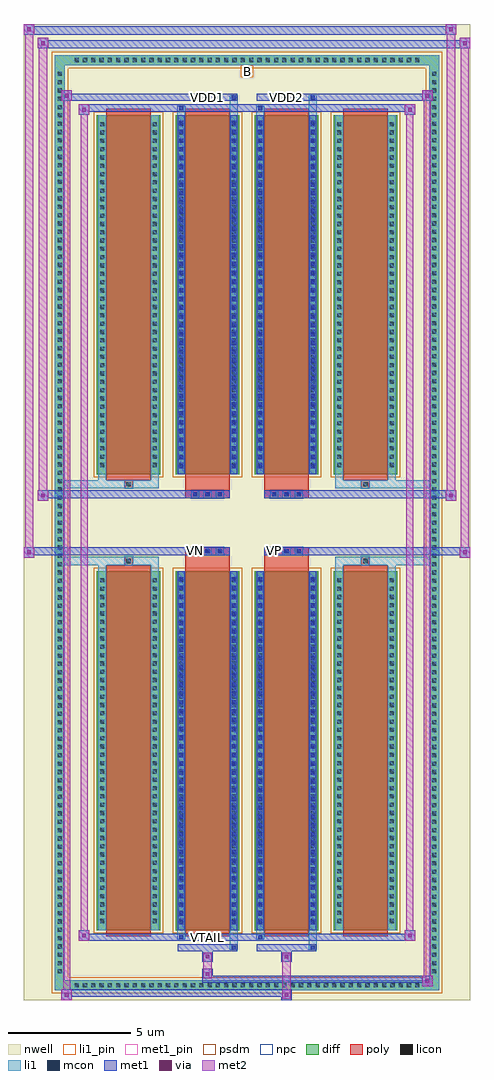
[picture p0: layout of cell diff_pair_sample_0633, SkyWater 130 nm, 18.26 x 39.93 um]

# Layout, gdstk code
import gdstk
lib = gdstk.Library(unit=1e-6, precision=5e-09)
def R(c, l, rs):  # rectangles x0, y0, x1, y1
    for r in rs: c.add(gdstk.rectangle(r[:2], r[2:], *l))
def A(c, l, x, y, w, h, nx, ny, dx, dy):  # array of equal rectangles
    R(c, l, [(x+i*dx, y+j*dy, x+i*dx+w, y+j*dy+h) for i in range(nx) for j in range(ny)])
def P(c, l, *ps):  # polygons
    for p in ps: c.add(gdstk.Polygon(p, *l))
nwell = (64, 20)
diff = (65, 20)
poly = (66, 20)
licon = (66, 44)
li1_pin = (67, 16)
li1 = (67, 20)
mcon = (67, 44)
met1_pin = (68, 16)
met1 = (68, 20)
via = (68, 44)
met2 = (69, 20)
psdm = (94, 20)
npc = (95, 20)

diff_pair_sample_0633 = lib.new_cell('diff_pair_sample_0633')
R(diff_pair_sample_0633, nwell, [(-9.13,-19.53,9.13,20.4), (-6.45,-17.72,-0.01,-0.8), (0.01,-17.72,6.45,-0.8), (-6.45,0.8,-0.01,17.72), (0.01,0.8,6.45,17.72)])
A(diff_pair_sample_0633, diff, -7.175, -19.13, 0.41, 0.41, 42, 2, 0.34, 37.85)
A(diff_pair_sample_0633, diff, -7.86, -18.565, 0.41, 0.41, 1, 109, 0, 0.34)
A(diff_pair_sample_0633, diff, 7.45, -18.565, 0.41, 0.41, 1, 109, 0, 0.34)
A(diff_pair_sample_0633, diff, -6.14, -16.675, 2.59, 14.69, 4, 2, 3.23, 18.66)
R(diff_pair_sample_0633, diff, [(-7.175,-19.13,7.175,-18.72), (-7.86,-18.565,-7.45,18.565), (7.45,-18.565,7.86,18.565), (-7.175,18.72,7.175,19.13)])
P(diff_pair_sample_0633, diff, [(7.86,19.13),(-7.86,19.13),(-7.86,-18.72),(-7.45,-18.72),(-7.45,18.72),(7.45,18.72),(7.45,-18.72),(-7.45,-18.72),(-7.86,-18.72),(-7.86,-19.13),(7.86,-19.13)])
A(diff_pair_sample_0633, poly, -5.75, -16.925, 1.81, 15.19, 4, 2, 3.23, 18.66)
A(diff_pair_sample_0633, poly, -2.28, -1.33, 0.33, 0.33, 3, 2, 0.5, 2.33)
A(diff_pair_sample_0633, poly, 0.95, -1.33, 0.33, 0.33, 3, 2, 0.5, 2.33)
R(diff_pair_sample_0633, poly, [(-5.01,-1.735,-4.68,-1.405), (-5.01,-1.735,-4.68,-1.405), (-2.52,-1.735,-0.71,-1.33), (0.71,-1.735,2.52,-1.33), (4.68,-1.735,5.01,-1.405), (4.68,-1.735,5.01,-1.405), (-2.52,-1.33,-0.71,-1), (0.71,-1.33,2.52,-1), (-2.52,1,-0.71,1.33), (0.71,1,2.52,1.33), (-2.52,1.33,-0.71,1.735), (0.71,1.33,2.52,1.735), (-5.01,1.405,-4.68,1.735), (-5.01,1.405,-4.68,1.735), (4.68,1.405,5.01,1.735), (4.68,1.405,5.01,1.735)])
A(diff_pair_sample_0633, licon, -7.055, -19.01, 0.17, 0.17, 42, 2, 0.34, 37.85)
A(diff_pair_sample_0633, licon, -7.74, -18.445, 0.17, 0.17, 1, 109, 0, 0.34)
A(diff_pair_sample_0633, licon, 7.57, -18.445, 0.17, 0.17, 1, 109, 0, 0.34)
A(diff_pair_sample_0633, licon, -6, -16.385, 0.17, 0.17, 1, 42, 0, 0.34)
A(diff_pair_sample_0633, licon, -3.86, -16.385, 0.17, 0.17, 1, 42, 0, 0.34)
A(diff_pair_sample_0633, licon, -2.77, -16.385, 0.17, 0.17, 1, 42, 0, 0.34)
A(diff_pair_sample_0633, licon, -0.63, -16.385, 0.17, 0.17, 1, 42, 0, 0.34)
A(diff_pair_sample_0633, licon, 0.46, -16.385, 0.17, 0.17, 1, 42, 0, 0.34)
A(diff_pair_sample_0633, licon, 2.6, -16.385, 0.17, 0.17, 1, 42, 0, 0.34)
A(diff_pair_sample_0633, licon, 3.69, -16.385, 0.17, 0.17, 1, 42, 0, 0.34)
A(diff_pair_sample_0633, licon, 5.83, -16.385, 0.17, 0.17, 1, 42, 0, 0.34)
A(diff_pair_sample_0633, licon, -2.2, -1.25, 0.17, 0.17, 3, 2, 0.5, 2.33)
A(diff_pair_sample_0633, licon, 1.03, -1.25, 0.17, 0.17, 3, 2, 0.5, 2.33)
A(diff_pair_sample_0633, licon, -6, 2.275, 0.17, 0.17, 1, 42, 0, 0.34)
A(diff_pair_sample_0633, licon, -3.86, 2.275, 0.17, 0.17, 1, 42, 0, 0.34)
A(diff_pair_sample_0633, licon, -2.77, 2.275, 0.17, 0.17, 1, 42, 0, 0.34)
A(diff_pair_sample_0633, licon, -0.63, 2.275, 0.17, 0.17, 1, 42, 0, 0.34)
A(diff_pair_sample_0633, licon, 0.46, 2.275, 0.17, 0.17, 1, 42, 0, 0.34)
A(diff_pair_sample_0633, licon, 2.6, 2.275, 0.17, 0.17, 1, 42, 0, 0.34)
A(diff_pair_sample_0633, licon, 3.69, 2.275, 0.17, 0.17, 1, 42, 0, 0.34)
A(diff_pair_sample_0633, licon, 5.83, 2.275, 0.17, 0.17, 1, 42, 0, 0.34)
R(diff_pair_sample_0633, licon, [(-4.93,-1.655,-4.76,-1.485), (4.76,-1.655,4.93,-1.485), (-4.93,1.485,-4.76,1.655), (4.76,1.485,4.93,1.655)])
R(diff_pair_sample_0633, li1_pin, [(-0.25,18.22,0.25,18.72)])
A(diff_pair_sample_0633, li1, -7.135, -19.09, 0.33, 0.33, 42, 2, 0.34, 37.85)
A(diff_pair_sample_0633, li1, -7.82, -18.525, 0.33, 0.33, 1, 109, 0, 0.34)
A(diff_pair_sample_0633, li1, 7.49, -18.525, 0.33, 0.33, 1, 109, 0, 0.34)
A(diff_pair_sample_0633, li1, -6.08, -16.465, 0.33, 0.33, 1, 42, 0, 0.34)
A(diff_pair_sample_0633, li1, -3.94, -16.465, 0.33, 0.33, 1, 42, 0, 0.34)
A(diff_pair_sample_0633, li1, -2.85, -16.465, 0.33, 0.33, 1, 42, 0, 0.34)
A(diff_pair_sample_0633, li1, -0.71, -16.465, 0.33, 0.33, 1, 42, 0, 0.34)
A(diff_pair_sample_0633, li1, 0.38, -16.465, 0.33, 0.33, 1, 42, 0, 0.34)
A(diff_pair_sample_0633, li1, 2.52, -16.465, 0.33, 0.33, 1, 42, 0, 0.34)
A(diff_pair_sample_0633, li1, 3.61, -16.465, 0.33, 0.33, 1, 42, 0, 0.34)
A(diff_pair_sample_0633, li1, 5.75, -16.465, 0.33, 0.33, 1, 42, 0, 0.34)
A(diff_pair_sample_0633, li1, -2.77, -16.435, 0.17, 0.17, 1, 40, 0, 0.36)
A(diff_pair_sample_0633, li1, -0.63, -16.435, 0.17, 0.17, 1, 40, 0, 0.36)
A(diff_pair_sample_0633, li1, 0.46, -16.435, 0.17, 0.17, 1, 40, 0, 0.36)
A(diff_pair_sample_0633, li1, 2.6, -16.435, 0.17, 0.17, 1, 40, 0, 0.36)
A(diff_pair_sample_0633, li1, -2.28, -1.33, 0.33, 0.33, 3, 2, 0.5, 2.33)
A(diff_pair_sample_0633, li1, 0.95, -1.33, 0.33, 0.33, 3, 2, 0.5, 2.33)
A(diff_pair_sample_0633, li1, -6.08, 2.195, 0.33, 0.33, 1, 42, 0, 0.34)
A(diff_pair_sample_0633, li1, -3.94, 2.195, 0.33, 0.33, 1, 42, 0, 0.34)
A(diff_pair_sample_0633, li1, -2.85, 2.195, 0.33, 0.33, 1, 42, 0, 0.34)
A(diff_pair_sample_0633, li1, -0.71, 2.195, 0.33, 0.33, 1, 42, 0, 0.34)
A(diff_pair_sample_0633, li1, 0.38, 2.195, 0.33, 0.33, 1, 42, 0, 0.34)
A(diff_pair_sample_0633, li1, 2.52, 2.195, 0.33, 0.33, 1, 42, 0, 0.34)
A(diff_pair_sample_0633, li1, 3.61, 2.195, 0.33, 0.33, 1, 42, 0, 0.34)
A(diff_pair_sample_0633, li1, 5.75, 2.195, 0.33, 0.33, 1, 42, 0, 0.34)
A(diff_pair_sample_0633, li1, -2.77, 2.225, 0.17, 0.17, 1, 40, 0, 0.36)
A(diff_pair_sample_0633, li1, -0.63, 2.225, 0.17, 0.17, 1, 40, 0, 0.36)
A(diff_pair_sample_0633, li1, 0.46, 2.225, 0.17, 0.17, 1, 40, 0, 0.36)
A(diff_pair_sample_0633, li1, 2.6, 2.225, 0.17, 0.17, 1, 40, 0, 0.36)
R(diff_pair_sample_0633, li1, [(-7.86,-19.13,-7.45,-18.72), (-7.86,-19.13,-7.45,-18.72), (-7.45,-19.13,7.45,-18.72), (7.45,-19.13,7.86,-18.72), (7.45,-19.13,7.86,-18.72), (-7.86,-18.72,-7.45,18.72), (7.45,-18.72,7.86,18.72), (-0.71,-17.48,-0.38,-16.675), (-0.63,-17.48,-0.46,-17.31), (2.52,-17.48,2.85,-16.675), (2.6,-17.48,2.77,-17.31), (-2.85,-17.05,-2.52,-16.675), (-2.77,-17.05,-2.6,-16.88), (0.38,-17.05,0.71,-16.675), (0.46,-17.05,0.63,-16.88), (-6.08,-16.675,-5.75,-1.985), (-3.94,-16.675,-3.61,-1.985), (-2.85,-16.675,-2.52,-1.985), (-0.71,-16.675,-0.38,-1.985), (0.38,-16.675,0.71,-1.985), (2.52,-16.675,2.85,-1.985), (3.61,-16.675,3.94,-1.985), (5.75,-16.675,6.08,-1.985), (-2.77,-16.435,-2.6,-2.225), (-0.63,-16.435,-0.46,-2.225), (0.46,-16.435,0.63,-2.225), (2.6,-16.435,2.77,-2.225), (-6.08,-1.985,-5.75,-1.405), (-3.94,-1.985,-3.61,-1.405), (3.61,-1.985,3.94,-1.405), (5.75,-1.985,6.08,-1.405), (-7.86,-1.735,-5.01,-1.405), (-6.08,-1.735,-5.01,-1.405), (-5.01,-1.735,-4.68,-1.405), (-4.68,-1.735,-3.61,-1.405), (3.61,-1.735,4.68,-1.405), (4.68,-1.735,5.01,-1.405), (4.68,-1.735,7.86,-1.405), (5.01,-1.735,6.08,-1.405), (-7.86,1.405,-5.01,1.735), (-6.08,1.405,-5.01,1.735), (-6.08,1.405,-5.75,1.985), (-5.01,1.405,-4.68,1.735), (-4.68,1.405,-3.61,1.735), (-3.94,1.405,-3.61,1.985), (3.61,1.405,4.68,1.735), (3.61,1.405,3.94,1.985), (4.68,1.405,5.01,1.735), (4.68,1.405,7.86,1.735), (5.01,1.405,6.08,1.735), (5.75,1.405,6.08,1.985), (-6.08,1.985,-5.75,16.675), (-3.94,1.985,-3.61,16.675), (-2.85,1.985,-2.52,16.675), (-0.71,1.985,-0.38,16.675), (0.38,1.985,0.71,16.675), (2.52,1.985,2.85,16.675), (3.61,1.985,3.94,16.675), (5.75,1.985,6.08,16.675), (-2.77,2.225,-2.6,16.435), (-0.63,2.225,-0.46,16.435), (0.46,2.225,0.63,16.435), (2.6,2.225,2.77,16.435), (-2.85,16.675,-2.52,17.05), (-0.71,16.675,-0.38,17.48), (0.38,16.675,0.71,17.05), (2.52,16.675,2.85,17.48), (-2.77,16.88,-2.6,17.05), (0.46,16.88,0.63,17.05), (-0.63,17.31,-0.46,17.48), (2.6,17.31,2.77,17.48), (-7.86,18.72,-7.45,19.13), (-7.86,18.72,-7.45,19.13), (-7.45,18.72,7.45,19.13), (7.45,18.72,7.86,19.13), (7.45,18.72,7.86,19.13)])
A(diff_pair_sample_0633, mcon, -2.77, -16.435, 0.17, 0.17, 1, 40, 0, 0.36)
A(diff_pair_sample_0633, mcon, -0.63, -16.435, 0.17, 0.17, 1, 40, 0, 0.36)
A(diff_pair_sample_0633, mcon, 0.46, -16.435, 0.17, 0.17, 1, 40, 0, 0.36)
A(diff_pair_sample_0633, mcon, 2.6, -16.435, 0.17, 0.17, 1, 40, 0, 0.36)
A(diff_pair_sample_0633, mcon, -2.2, -1.25, 0.17, 0.17, 3, 2, 0.5, 2.33)
A(diff_pair_sample_0633, mcon, 1.03, -1.25, 0.17, 0.17, 3, 2, 0.5, 2.33)
A(diff_pair_sample_0633, mcon, -2.77, 2.225, 0.17, 0.17, 1, 40, 0, 0.36)
A(diff_pair_sample_0633, mcon, -0.63, 2.225, 0.17, 0.17, 1, 40, 0, 0.36)
A(diff_pair_sample_0633, mcon, 0.46, 2.225, 0.17, 0.17, 1, 40, 0, 0.36)
A(diff_pair_sample_0633, mcon, 2.6, 2.225, 0.17, 0.17, 1, 40, 0, 0.36)
R(diff_pair_sample_0633, mcon, [(-0.63,-17.48,-0.46,-17.31), (2.6,-17.48,2.77,-17.31), (-2.77,-17.05,-2.6,-16.88), (0.46,-17.05,0.63,-16.88), (-2.77,16.88,-2.6,17.05), (0.46,16.88,0.63,17.05), (-0.63,17.31,-0.46,17.48), (2.6,17.31,2.77,17.48)])
R(diff_pair_sample_0633, met1_pin, [(-1.75,-17.09,-1.48,-16.82), (-2.25,-1.29,-1.98,-1.02), (0.98,-1.29,1.25,-1.02), (-1.75,17.27,-1.48,17.54), (1.48,17.27,1.75,17.54)])
A(diff_pair_sample_0633, met1, -2.83, -16.495, 0.29, 0.29, 1, 40, 0, 0.36)
A(diff_pair_sample_0633, met1, -0.69, -16.495, 0.29, 0.29, 1, 40, 0, 0.36)
A(diff_pair_sample_0633, met1, 0.4, -16.495, 0.29, 0.29, 1, 40, 0, 0.36)
A(diff_pair_sample_0633, met1, 2.54, -16.495, 0.29, 0.29, 1, 40, 0, 0.36)
A(diff_pair_sample_0633, met1, -2.26, -1.31, 0.29, 0.29, 3, 2, 0.5, 2.33)
A(diff_pair_sample_0633, met1, 0.97, -1.31, 0.29, 0.29, 3, 2, 0.5, 2.33)
A(diff_pair_sample_0633, met1, -2.83, 2.165, 0.29, 0.29, 1, 40, 0, 0.36)
A(diff_pair_sample_0633, met1, -0.69, 2.165, 0.29, 0.29, 1, 40, 0, 0.36)
A(diff_pair_sample_0633, met1, 0.4, 2.165, 0.29, 0.29, 1, 40, 0, 0.36)
A(diff_pair_sample_0633, met1, 2.54, 2.165, 0.29, 0.29, 1, 40, 0, 0.36)
R(diff_pair_sample_0633, met1, [(-7.59,-19.53,-7.16,-19.1), (1.4,-19.53,1.83,-19.1), (-7.59,-19.39,1.83,-19.1), (7.16,-18.96,7.59,-18.53), (-1.83,-18.82,7.59,-18.53), (-1.83,-18.68,-1.4,-18.25), (-1.83,-17.97,-1.4,-17.54), (1.4,-17.97,1.83,-17.54), (-2.83,-17.54,-0.4,-17.25), (-0.69,-17.54,-0.4,-17.25), (0.4,-17.54,2.83,-17.25), (2.54,-17.54,2.83,-17.25), (-6.88,-17.11,-6.45,-16.68), (-6.88,-17.11,-2.83,-16.82), (-2.83,-17.11,-2.54,-16.82), (-2.83,-17.11,-0.4,-16.82), (-0.4,-17.11,0.4,-16.82), (0.4,-17.11,0.69,-16.82), (0.4,-17.11,2.83,-16.82), (2.83,-17.11,6.88,-16.82), (6.45,-17.11,6.88,-16.68), (-2.83,-16.675,-2.54,-1.985), (-0.69,-16.675,-0.4,-1.985), (0.4,-16.675,0.69,-1.985), (2.54,-16.675,2.83,-1.985), (-9.13,-1.43,-8.7,-1), (8.7,-1.43,9.13,-1), (-9.13,-1.33,-0.71,-1), (-2.52,-1.33,-0.71,-1), (0.71,-1.33,2.52,-1), (0.71,-1.33,9.13,-1), (-8.56,0.9,-8.13,1.33), (8.13,0.9,8.56,1.33), (-8.56,1,-2.52,1.33), (-2.52,1,-0.71,1.33), (0.71,1,2.52,1.33), (2.52,1,8.56,1.33), (-2.83,1.985,-2.54,16.675), (-0.69,1.985,-0.4,16.675), (0.4,1.985,0.69,16.675), (2.54,1.985,2.83,16.675), (-6.88,16.68,-6.45,17.11), (6.45,16.68,6.88,17.11), (-6.88,16.82,-2.83,17.11), (-2.83,16.82,-2.54,17.11), (-2.83,16.82,-0.4,17.11), (-0.4,16.82,0.4,17.11), (0.4,16.82,0.69,17.11), (0.4,16.82,2.83,17.11), (2.83,16.82,6.88,17.11), (-7.59,17.25,-7.16,17.68), (-7.59,17.25,-2.83,17.54), (-2.83,17.25,-0.4,17.54), (-0.69,17.25,-0.4,17.54), (0.4,17.25,2.83,17.54), (2.54,17.25,2.83,17.54), (2.83,17.25,7.59,17.54), (7.16,17.25,7.59,17.68), (-8.56,19.4,-8.13,19.83), (-8.56,19.4,-6.45,19.73), (-6.45,19.4,6.45,19.73), (6.45,19.4,9.13,19.73), (8.7,19.4,9.13,19.83), (-9.13,19.97,-8.7,20.4), (-9.13,19.97,-6.45,20.3), (-6.45,19.97,6.45,20.3), (6.45,19.97,8.56,20.3), (8.13,19.97,8.56,20.4)])
R(diff_pair_sample_0633, via, [(-7.45,-19.39,-7.3,-19.24), (1.54,-19.39,1.69,-19.24), (7.3,-18.82,7.45,-18.67), (-1.69,-18.54,-1.54,-18.39), (-1.69,-17.83,-1.54,-17.68), (1.54,-17.83,1.69,-17.68), (-6.74,-16.97,-6.59,-16.82), (6.59,-16.97,6.74,-16.82), (-8.99,-1.29,-8.84,-1.14), (8.84,-1.29,8.99,-1.14), (-8.42,1.04,-8.27,1.19), (8.27,1.04,8.42,1.19), (-6.74,16.82,-6.59,16.97), (6.59,16.82,6.74,16.97), (-7.45,17.39,-7.3,17.54), (7.3,17.39,7.45,17.54), (-8.42,19.54,-8.27,19.69), (8.84,19.54,8.99,19.69), (-8.99,20.11,-8.84,20.26), (8.27,20.11,8.42,20.26)])
R(diff_pair_sample_0633, met2, [(-7.59,-19.53,-7.16,-19.1), (-7.52,-19.53,-7.23,17.68), (-7.23,-19.53,-7.16,-19.1), (-7.54,-19.48,-7.21,-19.15), (1.45,-19.48,1.78,-19.15), (1.45,-19.15,1.78,-17.92), (7.16,-18.96,7.59,-18.53), (7.23,-18.96,7.52,17.68), (7.52,-18.96,7.59,-18.53), (7.21,-18.91,7.54,-18.58), (-1.78,-18.63,-1.45,-18.3), (-1.78,-18.3,-1.45,-17.92), (-1.78,-17.92,-1.45,-17.59), (1.45,-17.92,1.78,-17.59), (-6.88,-17.11,-6.45,-16.68), (-6.81,-17.11,-6.52,17.11), (-6.52,-17.11,-6.45,-16.68), (6.45,-17.11,6.88,-16.68), (6.52,-17.11,6.81,17.11), (6.81,-17.11,6.88,-16.68), (-6.83,-17.06,-6.5,-16.73), (6.5,-17.06,6.83,-16.73), (-9.13,-1.43,-8.7,-1), (-9.08,-1.43,-8.75,20.4), (-8.75,-1.43,-8.7,-1), (8.7,-1.43,9.13,-1), (8.75,-1.43,9.08,19.83), (9.08,-1.43,9.13,-1), (-9.08,-1.38,-8.75,-1.05), (8.75,-1.38,9.08,-1.05), (-8.56,0.9,-8.13,1.33), (-8.51,0.9,-8.18,19.83), (-8.18,0.9,-8.13,1.33), (8.13,0.9,8.56,1.33), (8.18,0.9,8.51,20.4), (8.51,0.9,8.56,1.33), (-8.51,0.95,-8.18,1.28), (8.18,0.95,8.51,1.28), (-6.88,16.68,-6.45,17.11), (-6.52,16.68,-6.45,17.11), (6.45,16.68,6.88,17.11), (6.81,16.68,6.88,17.11), (-6.83,16.73,-6.5,17.06), (6.5,16.73,6.83,17.06), (-7.59,17.25,-7.16,17.68), (-7.23,17.25,-7.16,17.68), (7.16,17.25,7.59,17.68), (7.52,17.25,7.59,17.68), (-7.54,17.3,-7.21,17.63), (7.21,17.3,7.54,17.63), (-8.56,19.4,-8.13,19.83), (-8.18,19.4,-8.13,19.83), (8.7,19.4,9.13,19.83), (9.08,19.4,9.13,19.83), (-8.51,19.45,-8.18,19.78), (8.75,19.45,9.08,19.78), (-9.13,19.97,-8.7,20.4), (-8.75,19.97,-8.7,20.4), (8.13,19.97,8.56,20.4), (8.51,19.97,8.56,20.4), (-9.08,20.02,-8.75,20.35), (8.18,20.02,8.51,20.35)])
A(diff_pair_sample_0633, psdm, -6.27, -16.805, 2.85, 14.95, 4, 2, 3.23, 18.66)
P(diff_pair_sample_0633, psdm, [(7.99,19.26),(-7.99,19.26),(-7.99,-18.59),(-7.32,-18.59),(-7.32,18.59),(7.32,18.59),(7.32,-18.59),(-7.32,-18.59),(-7.99,-18.59),(-7.99,-19.26),(7.99,-19.26)])
A(diff_pair_sample_0633, npc, -2.3, -1.35, 0.37, 0.37, 3, 2, 0.5, 2.33)
A(diff_pair_sample_0633, npc, 0.93, -1.35, 0.37, 0.37, 3, 2, 0.5, 2.33)
R(diff_pair_sample_0633, npc, [(-5.03,-1.755,-4.66,-1.385), (4.66,-1.755,5.03,-1.385), (-2.3,-1.35,-1.43,-0.98), (-2.3,-1.35,-1.43,-0.98), (-1.8,-1.35,-0.93,-0.98), (-1.8,-1.35,-0.93,-0.98), (0.93,-1.35,1.8,-0.98), (0.93,-1.35,1.8,-0.98), (1.43,-1.35,2.3,-0.98), (1.43,-1.35,2.3,-0.98), (-2.3,0.98,-1.43,1.35), (-2.3,0.98,-1.43,1.35), (-1.8,0.98,-0.93,1.35), (-1.8,0.98,-0.93,1.35), (0.93,0.98,1.8,1.35), (0.93,0.98,1.8,1.35), (1.43,0.98,2.3,1.35), (1.43,0.98,2.3,1.35), (-5.03,1.385,-4.66,1.755), (4.66,1.385,5.03,1.755)])
diff_pair_sample_0633.add(gdstk.Label('VTAIL', (-1.615,-16.955), layer=68, texttype=5))
diff_pair_sample_0633.add(gdstk.Label('VN', (-2.115,-1.155), layer=68, texttype=5))
diff_pair_sample_0633.add(gdstk.Label('VP', (1.115,-1.155), layer=68, texttype=5))
diff_pair_sample_0633.add(gdstk.Label('B', (0,18.47), layer=67, texttype=5))
diff_pair_sample_0633.add(gdstk.Label('VDD2', (1.615,17.405), layer=68, texttype=5))
diff_pair_sample_0633.add(gdstk.Label('VDD1', (-1.615,17.405), layer=68, texttype=5))

lib.write_gds('diff_pair_sample_0633.gds')
